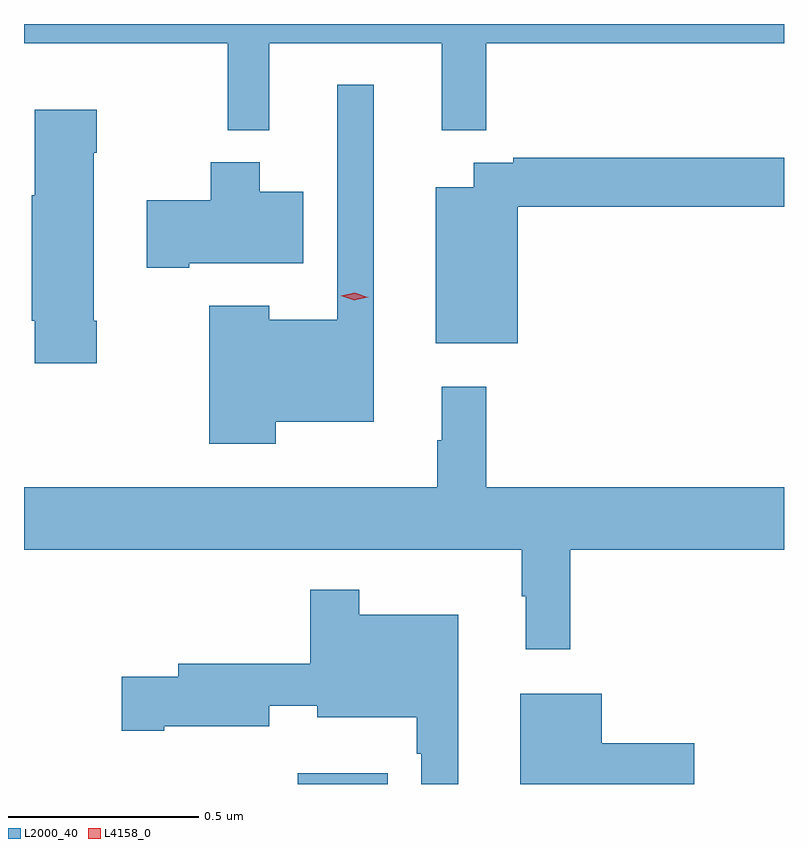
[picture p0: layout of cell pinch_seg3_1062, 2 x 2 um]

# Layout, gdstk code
import gdstk
lib = gdstk.Library(unit=1e-6, precision=1e-09)
def R(c, l, rs):  # rectangles x0, y0, x1, y1
    for r in rs: c.add(gdstk.rectangle(r[:2], r[2:], *l))
def P(c, l, *ps):  # polygons
    for p in ps: c.add(gdstk.Polygon(p, *l))
L2000_40 = (2000, 40)
L4158_0 = (4158, 0)

pinch_seg3_1062 = lib.new_cell('pinch_seg3_1062')
R(pinch_seg3_1062, L2000_40, [(347.174,721.611,347.41,721.639)])
P(pinch_seg3_1062, L2000_40, [(347.669,723.56),(348.453,723.56),(348.453,723.611),(346.453,723.611),(346.453,723.56),(346.989,723.56),(346.989,723.332),(347.099,723.332),(347.099,723.56),(347.552,723.56),(347.552,723.331),(347.669,723.331)],
  [(347.115,722.564),(347.374,722.564),(347.374,723.451),(347.277,723.451),(347.277,722.833),(347.098,722.833),(347.098,722.869),(346.94,722.869),(346.94,722.507),(347.115,722.507)],
  [(346.644,722.83),(346.636,722.83),(346.636,723.272),(346.644,723.272),(346.644,723.385),(346.481,723.385),(346.481,723.161),(346.474,723.161),(346.474,722.83),(346.481,722.83),(346.481,722.718),(346.644,722.718)],
  [(347.752,723.13),(348.453,723.13),(348.453,723.259),(347.74,723.259),(347.74,723.246),(347.636,723.246),(347.636,723.181),(347.537,723.181),(347.537,722.771),(347.752,722.771)],
  [(346.888,722.981),(347.188,722.981),(347.188,723.169),(347.074,723.169),(347.074,723.247),(346.945,723.247),(346.945,723.147),(346.776,723.147),(346.776,722.969),(346.888,722.969)],
  [(347.891,722.228),(348.453,722.228),(348.453,722.392),(347.669,722.392),(347.669,722.656),(347.552,722.656),(347.552,722.516),(347.541,722.516),(347.541,722.392),(346.453,722.392),(346.453,722.228),(347.763,722.228),(347.763,722.105),(347.774,722.105),(347.774,721.965),(347.891,721.965)],
  [(347.596,722.056),(347.335,722.056),(347.335,722.122),(347.206,722.122),(347.206,721.927),(346.859,721.927),(346.859,721.893),(346.71,721.893),(346.71,721.751),(346.822,721.751),(346.822,721.763),(347.098,721.763),(347.098,721.817),(347.225,721.817),(347.225,721.787),(347.487,721.787),(347.487,721.691),(347.499,721.691),(347.499,721.611),(347.596,721.611)],
  [(348.217,721.718),(347.974,721.718),(347.974,721.849),(347.759,721.849),(347.759,721.611),(348.217,721.611)])
P(pinch_seg3_1062, L4158_0, [(347.322,722.884),(347.287,722.896),(347.287,722.896),(347.287,722.896),(347.323,722.904),(347.358,722.892),(347.359,722.892),(347.358,722.892)])

lib.write_gds('pinch_seg3_1062.gds')
